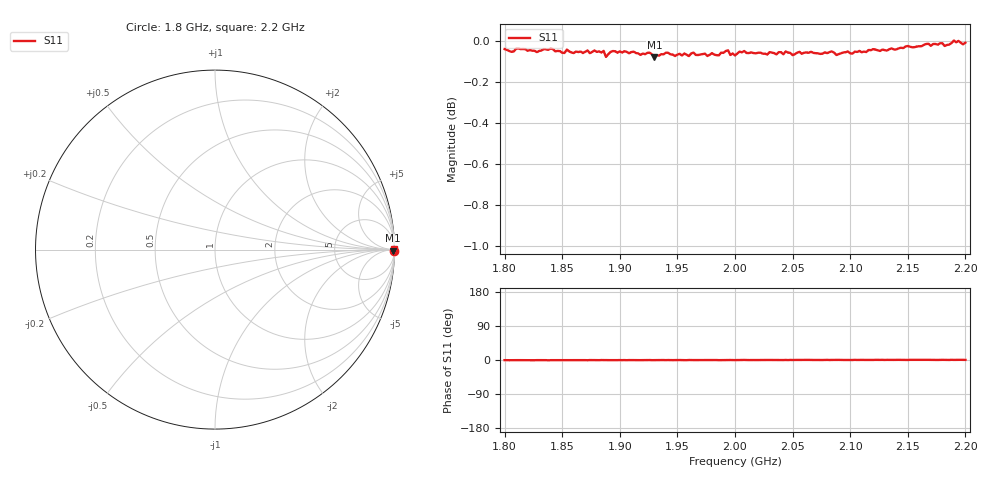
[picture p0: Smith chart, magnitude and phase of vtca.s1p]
!1-port S-parameter file
# HZ S RI R 50
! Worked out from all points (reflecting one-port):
!   201 points, 1.8 GHz to 2.2 GHz, reference 50 ohm
!   lowest |S11| = -0.1 dB at 1.93 GHz (marker M1), VSWR 217.36, Z = 7.52e+03 - j5.02e+03 ohm
!   phase of S11 starts at -0 deg and turns +1 deg over the sweep
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1.8e9  0.9952 -0.00682
1.81e9  0.9954 -0.0124
1.812e9  0.9955 -0.00664
1.836e9  0.9951 -0.00713
1.838e9  0.9947 -0.0146
1.84e9  0.9956 -0.00761
1.85e9  0.9932 -0.00683
1.872e9  0.9944 -0.00956
1.884e9  0.9934 -0.00271
1.888e9  0.9909 -0.00912
1.9e9  0.994 -0.00331
1.93e9  0.9908 -0.00608
1.95e9  0.9922 -0.00243
1.958e9  0.9921 -0.00771
1.96e9  0.9914 -0.000226
2e9  0.9917 -0.00438
2.008e9  0.9942 0.00202
2.012e9  0.993 -0.00319
2.05e9  0.9919 -0.000301
2.058e9  0.9926 0.00504
2.1e9  0.9929 0.000956
2.14e9  0.9951 0.00765
2.15e9  0.997 0.00193
2.166e9  0.9981 0.00821
2.176e9  0.9977 0.00199
2.186e9  0.9978 0.00237
2.188e9  0.9986 0.00855
2.2e9  0.9988 0.00452
